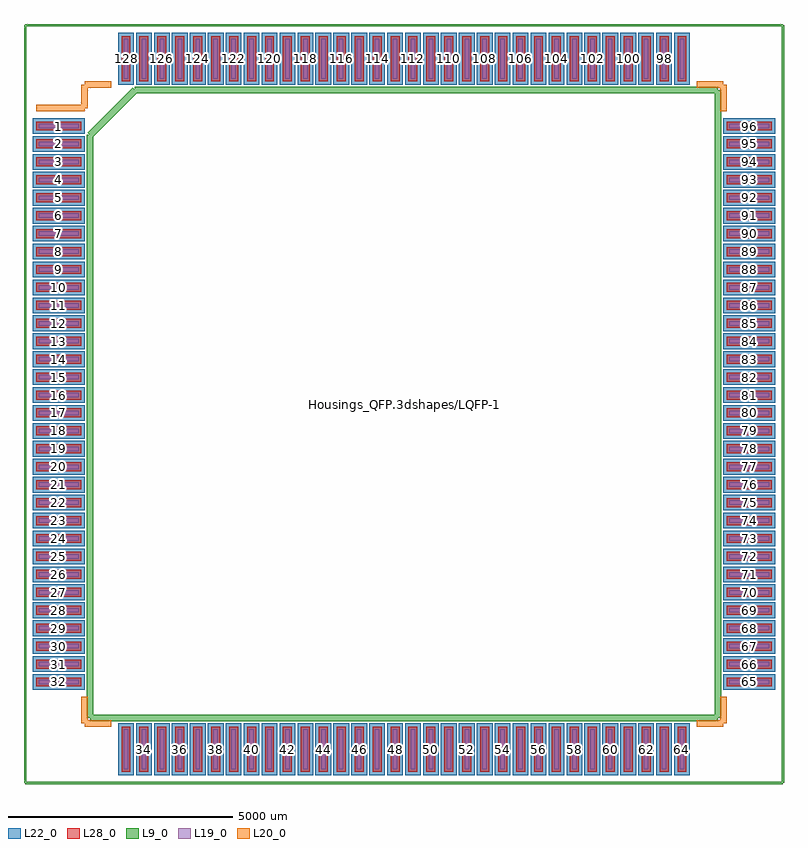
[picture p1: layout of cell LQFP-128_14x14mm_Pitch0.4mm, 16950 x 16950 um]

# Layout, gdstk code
import gdstk
lib = gdstk.Library(unit=1e-6, precision=1e-09)
def R(c, l, rs):  # rectangles x0, y0, x1, y1
    for r in rs: c.add(gdstk.rectangle(r[:2], r[2:], *l))
def A(c, l, x, y, w, h, nx, ny, dx, dy):  # array of equal rectangles
    R(c, l, [(x+i*dx, y+j*dy, x+i*dx+w, y+j*dy+h) for i in range(nx) for j in range(ny)])
L9_0 = (9, 0)
L19_0 = (19, 0)
L20_0 = (20, 0)
L22_0 = (22, 0)
L28_0 = (28, 0)

lqfp_128_14x14mm_pitch0_ = lib.new_cell('LQFP-128_14x14mm_Pitch0.4mm')
A(lqfp_128_14x14mm_pitch0_, L19_0, -6250, -8150, 100, 900, 32, 2, 400, 15400)
A(lqfp_128_14x14mm_pitch0_, L19_0, -8150, -6250, 900, 100, 1, 32, 0, 400)
A(lqfp_128_14x14mm_pitch0_, L19_0, 7250, -6250, 900, 100, 1, 32, 0, 400)
A(lqfp_128_14x14mm_pitch0_, L22_0, -6375, -8275, 350, 1150, 32, 2, 400, 15400)
A(lqfp_128_14x14mm_pitch0_, L22_0, -8275, -6375, 1150, 350, 1, 32, 0, 400)
A(lqfp_128_14x14mm_pitch0_, L22_0, 7125, -6375, 1150, 350, 1, 32, 0, 400)
A(lqfp_128_14x14mm_pitch0_, L28_0, -6300, -8200, 200, 1000, 32, 2, 400, 15400)
A(lqfp_128_14x14mm_pitch0_, L28_0, -8200, -6300, 1000, 200, 1, 32, 0, 400)
A(lqfp_128_14x14mm_pitch0_, L28_0, 7200, -6300, 1000, 200, 1, 32, 0, 400)
lqfp_128_14x14mm_pitch0_.add(gdstk.FlexPath([(-7125,6600),(-8200,6600)], 149.998, ends="flush", simple_path=True, layer=20, datatype=0))  # L20_0
lqfp_128_14x14mm_pitch0_.add(gdstk.FlexPath([(7125,7125),(6525,7125)], 149.998, ends="flush", simple_path=True, layer=20, datatype=0))  # L20_0
lqfp_128_14x14mm_pitch0_.add(gdstk.FlexPath([(7125,-7125),(6525,-7125)], 149.998, ends="flush", simple_path=True, layer=20, datatype=0))  # L20_0
lqfp_128_14x14mm_pitch0_.add(gdstk.FlexPath([(-7125,-7125),(-6525,-7125)], 149.998, ends="flush", simple_path=True, layer=20, datatype=0))  # L20_0
lqfp_128_14x14mm_pitch0_.add(gdstk.FlexPath([(-7125,7125),(-6525,7125)], 149.998, ends="flush", simple_path=True, layer=20, datatype=0))  # L20_0
lqfp_128_14x14mm_pitch0_.add(gdstk.FlexPath([(-7125,-7125),(-7125,-6525)], 149.998, ends="flush", simple_path=True, layer=20, datatype=0))  # L20_0
lqfp_128_14x14mm_pitch0_.add(gdstk.FlexPath([(7125,-7125),(7125,-6525)], 149.998, ends="flush", simple_path=True, layer=20, datatype=0))  # L20_0
lqfp_128_14x14mm_pitch0_.add(gdstk.FlexPath([(7125,7125),(7125,6525)], 149.998, ends="flush", simple_path=True, layer=20, datatype=0))  # L20_0
lqfp_128_14x14mm_pitch0_.add(gdstk.FlexPath([(-7125,7125),(-7125,6600)], 149.998, ends="flush", simple_path=True, layer=20, datatype=0))  # L20_0
lqfp_128_14x14mm_pitch0_.add(gdstk.FlexPath([(-8450,-8450),(8450,-8450)], 50, ends="flush", simple_path=True, layer=9, datatype=0))  # L9_0
lqfp_128_14x14mm_pitch0_.add(gdstk.FlexPath([(-8450,8450),(8450,8450)], 50, ends="flush", simple_path=True, layer=9, datatype=0))  # L9_0
lqfp_128_14x14mm_pitch0_.add(gdstk.FlexPath([(8450,8450),(8450,-8450)], 50, ends="flush", simple_path=True, layer=9, datatype=0))  # L9_0
lqfp_128_14x14mm_pitch0_.add(gdstk.FlexPath([(-8450,8450),(-8450,-8450)], 50, ends="flush", simple_path=True, layer=9, datatype=0))  # L9_0
lqfp_128_14x14mm_pitch0_.add(gdstk.FlexPath([(-7000,6000),(-6000,7000)], 149.998, ends="flush", simple_path=True, layer=9, datatype=0))  # L9_0
lqfp_128_14x14mm_pitch0_.add(gdstk.FlexPath([(-7000,-7000),(-7000,6000)], 149.998, ends="flush", simple_path=True, layer=9, datatype=0))  # L9_0
lqfp_128_14x14mm_pitch0_.add(gdstk.FlexPath([(7000,-7000),(-7000,-7000)], 149.998, ends="flush", simple_path=True, layer=9, datatype=0))  # L9_0
lqfp_128_14x14mm_pitch0_.add(gdstk.FlexPath([(7000,7000),(7000,-7000)], 149.998, ends="flush", simple_path=True, layer=9, datatype=0))  # L9_0
lqfp_128_14x14mm_pitch0_.add(gdstk.FlexPath([(-6000,7000),(7000,7000)], 149.998, ends="flush", simple_path=True, layer=9, datatype=0))  # L9_0
lqfp_128_14x14mm_pitch0_.add(gdstk.Label('Housings_QFP.3dshapes/LQFP-128_14x14mm_Pitch0.4mm.wrl', (0,0), layer=12, texttype=0))
lqfp_128_14x14mm_pitch0_.add(gdstk.Label('128', (-6200,7700), layer=28, texttype=0))
lqfp_128_14x14mm_pitch0_.add(gdstk.Label('127', (-5800,7700), layer=28, texttype=0))
lqfp_128_14x14mm_pitch0_.add(gdstk.Label('126', (-5400,7700), layer=28, texttype=0))
lqfp_128_14x14mm_pitch0_.add(gdstk.Label('125', (-5000,7700), layer=28, texttype=0))
lqfp_128_14x14mm_pitch0_.add(gdstk.Label('124', (-4600,7700), layer=28, texttype=0))
lqfp_128_14x14mm_pitch0_.add(gdstk.Label('123', (-4200,7700), layer=28, texttype=0))
lqfp_128_14x14mm_pitch0_.add(gdstk.Label('122', (-3800,7700), layer=28, texttype=0))
lqfp_128_14x14mm_pitch0_.add(gdstk.Label('121', (-3400,7700), layer=28, texttype=0))
lqfp_128_14x14mm_pitch0_.add(gdstk.Label('120', (-3000,7700), layer=28, texttype=0))
lqfp_128_14x14mm_pitch0_.add(gdstk.Label('119', (-2600,7700), layer=28, texttype=0))
lqfp_128_14x14mm_pitch0_.add(gdstk.Label('118', (-2200,7700), layer=28, texttype=0))
lqfp_128_14x14mm_pitch0_.add(gdstk.Label('117', (-1800,7700), layer=28, texttype=0))
lqfp_128_14x14mm_pitch0_.add(gdstk.Label('116', (-1400,7700), layer=28, texttype=0))
lqfp_128_14x14mm_pitch0_.add(gdstk.Label('115', (-1000,7700), layer=28, texttype=0))
lqfp_128_14x14mm_pitch0_.add(gdstk.Label('114', (-600,7700), layer=28, texttype=0))
lqfp_128_14x14mm_pitch0_.add(gdstk.Label('113', (-200,7700), layer=28, texttype=0))
lqfp_128_14x14mm_pitch0_.add(gdstk.Label('112', (200,7700), layer=28, texttype=0))
lqfp_128_14x14mm_pitch0_.add(gdstk.Label('111', (600,7700), layer=28, texttype=0))
lqfp_128_14x14mm_pitch0_.add(gdstk.Label('110', (1000,7700), layer=28, texttype=0))
lqfp_128_14x14mm_pitch0_.add(gdstk.Label('109', (1400,7700), layer=28, texttype=0))
lqfp_128_14x14mm_pitch0_.add(gdstk.Label('108', (1800,7700), layer=28, texttype=0))
lqfp_128_14x14mm_pitch0_.add(gdstk.Label('107', (2200,7700), layer=28, texttype=0))
lqfp_128_14x14mm_pitch0_.add(gdstk.Label('106', (2600,7700), layer=28, texttype=0))
lqfp_128_14x14mm_pitch0_.add(gdstk.Label('105', (3000,7700), layer=28, texttype=0))
lqfp_128_14x14mm_pitch0_.add(gdstk.Label('104', (3400,7700), layer=28, texttype=0))
lqfp_128_14x14mm_pitch0_.add(gdstk.Label('103', (3800,7700), layer=28, texttype=0))
lqfp_128_14x14mm_pitch0_.add(gdstk.Label('102', (4200,7700), layer=28, texttype=0))
lqfp_128_14x14mm_pitch0_.add(gdstk.Label('101', (4600,7700), layer=28, texttype=0))
lqfp_128_14x14mm_pitch0_.add(gdstk.Label('100', (5000,7700), layer=28, texttype=0))
lqfp_128_14x14mm_pitch0_.add(gdstk.Label('99', (5400,7700), layer=28, texttype=0))
lqfp_128_14x14mm_pitch0_.add(gdstk.Label('98', (5800,7700), layer=28, texttype=0))
lqfp_128_14x14mm_pitch0_.add(gdstk.Label('97', (6200,7700), layer=28, texttype=0))
lqfp_128_14x14mm_pitch0_.add(gdstk.Label('96', (7700,6200), layer=28, texttype=0))
lqfp_128_14x14mm_pitch0_.add(gdstk.Label('95', (7700,5800), layer=28, texttype=0))
lqfp_128_14x14mm_pitch0_.add(gdstk.Label('94', (7700,5400), layer=28, texttype=0))
lqfp_128_14x14mm_pitch0_.add(gdstk.Label('93', (7700,5000), layer=28, texttype=0))
lqfp_128_14x14mm_pitch0_.add(gdstk.Label('92', (7700,4600), layer=28, texttype=0))
lqfp_128_14x14mm_pitch0_.add(gdstk.Label('91', (7700,4200), layer=28, texttype=0))
lqfp_128_14x14mm_pitch0_.add(gdstk.Label('90', (7700,3800), layer=28, texttype=0))
lqfp_128_14x14mm_pitch0_.add(gdstk.Label('89', (7700,3400), layer=28, texttype=0))
lqfp_128_14x14mm_pitch0_.add(gdstk.Label('88', (7700,3000), layer=28, texttype=0))
lqfp_128_14x14mm_pitch0_.add(gdstk.Label('87', (7700,2600), layer=28, texttype=0))
lqfp_128_14x14mm_pitch0_.add(gdstk.Label('86', (7700,2200), layer=28, texttype=0))
lqfp_128_14x14mm_pitch0_.add(gdstk.Label('85', (7700,1800), layer=28, texttype=0))
lqfp_128_14x14mm_pitch0_.add(gdstk.Label('84', (7700,1400), layer=28, texttype=0))
lqfp_128_14x14mm_pitch0_.add(gdstk.Label('83', (7700,1000), layer=28, texttype=0))
lqfp_128_14x14mm_pitch0_.add(gdstk.Label('82', (7700,600), layer=28, texttype=0))
lqfp_128_14x14mm_pitch0_.add(gdstk.Label('81', (7700,200), layer=28, texttype=0))
lqfp_128_14x14mm_pitch0_.add(gdstk.Label('80', (7700,-200), layer=28, texttype=0))
lqfp_128_14x14mm_pitch0_.add(gdstk.Label('79', (7700,-600), layer=28, texttype=0))
lqfp_128_14x14mm_pitch0_.add(gdstk.Label('78', (7700,-1000), layer=28, texttype=0))
lqfp_128_14x14mm_pitch0_.add(gdstk.Label('77', (7700,-1400), layer=28, texttype=0))
lqfp_128_14x14mm_pitch0_.add(gdstk.Label('76', (7700,-1800), layer=28, texttype=0))
lqfp_128_14x14mm_pitch0_.add(gdstk.Label('75', (7700,-2200), layer=28, texttype=0))
lqfp_128_14x14mm_pitch0_.add(gdstk.Label('74', (7700,-2600), layer=28, texttype=0))
lqfp_128_14x14mm_pitch0_.add(gdstk.Label('73', (7700,-3000), layer=28, texttype=0))
lqfp_128_14x14mm_pitch0_.add(gdstk.Label('72', (7700,-3400), layer=28, texttype=0))
lqfp_128_14x14mm_pitch0_.add(gdstk.Label('71', (7700,-3800), layer=28, texttype=0))
lqfp_128_14x14mm_pitch0_.add(gdstk.Label('70', (7700,-4200), layer=28, texttype=0))
lqfp_128_14x14mm_pitch0_.add(gdstk.Label('69', (7700,-4600), layer=28, texttype=0))
lqfp_128_14x14mm_pitch0_.add(gdstk.Label('68', (7700,-5000), layer=28, texttype=0))
lqfp_128_14x14mm_pitch0_.add(gdstk.Label('67', (7700,-5400), layer=28, texttype=0))
lqfp_128_14x14mm_pitch0_.add(gdstk.Label('66', (7700,-5800), layer=28, texttype=0))
lqfp_128_14x14mm_pitch0_.add(gdstk.Label('65', (7700,-6200), layer=28, texttype=0))
lqfp_128_14x14mm_pitch0_.add(gdstk.Label('64', (6200,-7700), layer=28, texttype=0))
lqfp_128_14x14mm_pitch0_.add(gdstk.Label('63', (5800,-7700), layer=28, texttype=0))
lqfp_128_14x14mm_pitch0_.add(gdstk.Label('62', (5400,-7700), layer=28, texttype=0))
lqfp_128_14x14mm_pitch0_.add(gdstk.Label('61', (5000,-7700), layer=28, texttype=0))
lqfp_128_14x14mm_pitch0_.add(gdstk.Label('60', (4600,-7700), layer=28, texttype=0))
lqfp_128_14x14mm_pitch0_.add(gdstk.Label('59', (4200,-7700), layer=28, texttype=0))
lqfp_128_14x14mm_pitch0_.add(gdstk.Label('58', (3800,-7700), layer=28, texttype=0))
lqfp_128_14x14mm_pitch0_.add(gdstk.Label('57', (3400,-7700), layer=28, texttype=0))
lqfp_128_14x14mm_pitch0_.add(gdstk.Label('56', (3000,-7700), layer=28, texttype=0))
lqfp_128_14x14mm_pitch0_.add(gdstk.Label('55', (2600,-7700), layer=28, texttype=0))
lqfp_128_14x14mm_pitch0_.add(gdstk.Label('54', (2200,-7700), layer=28, texttype=0))
lqfp_128_14x14mm_pitch0_.add(gdstk.Label('53', (1800,-7700), layer=28, texttype=0))
lqfp_128_14x14mm_pitch0_.add(gdstk.Label('52', (1400,-7700), layer=28, texttype=0))
lqfp_128_14x14mm_pitch0_.add(gdstk.Label('51', (1000,-7700), layer=28, texttype=0))
lqfp_128_14x14mm_pitch0_.add(gdstk.Label('50', (600,-7700), layer=28, texttype=0))
lqfp_128_14x14mm_pitch0_.add(gdstk.Label('49', (200,-7700), layer=28, texttype=0))
lqfp_128_14x14mm_pitch0_.add(gdstk.Label('48', (-200,-7700), layer=28, texttype=0))
lqfp_128_14x14mm_pitch0_.add(gdstk.Label('47', (-600,-7700), layer=28, texttype=0))
lqfp_128_14x14mm_pitch0_.add(gdstk.Label('46', (-1000,-7700), layer=28, texttype=0))
lqfp_128_14x14mm_pitch0_.add(gdstk.Label('45', (-1400,-7700), layer=28, texttype=0))
lqfp_128_14x14mm_pitch0_.add(gdstk.Label('44', (-1800,-7700), layer=28, texttype=0))
lqfp_128_14x14mm_pitch0_.add(gdstk.Label('43', (-2200,-7700), layer=28, texttype=0))
lqfp_128_14x14mm_pitch0_.add(gdstk.Label('42', (-2600,-7700), layer=28, texttype=0))
lqfp_128_14x14mm_pitch0_.add(gdstk.Label('41', (-3000,-7700), layer=28, texttype=0))
lqfp_128_14x14mm_pitch0_.add(gdstk.Label('40', (-3400,-7700), layer=28, texttype=0))
lqfp_128_14x14mm_pitch0_.add(gdstk.Label('39', (-3800,-7700), layer=28, texttype=0))
lqfp_128_14x14mm_pitch0_.add(gdstk.Label('38', (-4200,-7700), layer=28, texttype=0))
lqfp_128_14x14mm_pitch0_.add(gdstk.Label('37', (-4600,-7700), layer=28, texttype=0))
lqfp_128_14x14mm_pitch0_.add(gdstk.Label('36', (-5000,-7700), layer=28, texttype=0))
lqfp_128_14x14mm_pitch0_.add(gdstk.Label('35', (-5400,-7700), layer=28, texttype=0))
lqfp_128_14x14mm_pitch0_.add(gdstk.Label('34', (-5800,-7700), layer=28, texttype=0))
lqfp_128_14x14mm_pitch0_.add(gdstk.Label('33', (-6200,-7700), layer=28, texttype=0))
lqfp_128_14x14mm_pitch0_.add(gdstk.Label('32', (-7700,-6200), layer=28, texttype=0))
lqfp_128_14x14mm_pitch0_.add(gdstk.Label('31', (-7700,-5800), layer=28, texttype=0))
lqfp_128_14x14mm_pitch0_.add(gdstk.Label('30', (-7700,-5400), layer=28, texttype=0))
lqfp_128_14x14mm_pitch0_.add(gdstk.Label('29', (-7700,-5000), layer=28, texttype=0))
lqfp_128_14x14mm_pitch0_.add(gdstk.Label('28', (-7700,-4600), layer=28, texttype=0))
lqfp_128_14x14mm_pitch0_.add(gdstk.Label('27', (-7700,-4200), layer=28, texttype=0))
lqfp_128_14x14mm_pitch0_.add(gdstk.Label('26', (-7700,-3800), layer=28, texttype=0))
lqfp_128_14x14mm_pitch0_.add(gdstk.Label('25', (-7700,-3400), layer=28, texttype=0))
lqfp_128_14x14mm_pitch0_.add(gdstk.Label('24', (-7700,-3000), layer=28, texttype=0))
lqfp_128_14x14mm_pitch0_.add(gdstk.Label('23', (-7700,-2600), layer=28, texttype=0))
lqfp_128_14x14mm_pitch0_.add(gdstk.Label('22', (-7700,-2200), layer=28, texttype=0))
lqfp_128_14x14mm_pitch0_.add(gdstk.Label('21', (-7700,-1800), layer=28, texttype=0))
lqfp_128_14x14mm_pitch0_.add(gdstk.Label('20', (-7700,-1400), layer=28, texttype=0))
lqfp_128_14x14mm_pitch0_.add(gdstk.Label('19', (-7700,-1000), layer=28, texttype=0))
lqfp_128_14x14mm_pitch0_.add(gdstk.Label('18', (-7700,-600), layer=28, texttype=0))
lqfp_128_14x14mm_pitch0_.add(gdstk.Label('17', (-7700,-200), layer=28, texttype=0))
lqfp_128_14x14mm_pitch0_.add(gdstk.Label('16', (-7700,200), layer=28, texttype=0))
lqfp_128_14x14mm_pitch0_.add(gdstk.Label('15', (-7700,600), layer=28, texttype=0))
lqfp_128_14x14mm_pitch0_.add(gdstk.Label('14', (-7700,1000), layer=28, texttype=0))
lqfp_128_14x14mm_pitch0_.add(gdstk.Label('13', (-7700,1400), layer=28, texttype=0))
lqfp_128_14x14mm_pitch0_.add(gdstk.Label('12', (-7700,1800), layer=28, texttype=0))
lqfp_128_14x14mm_pitch0_.add(gdstk.Label('11', (-7700,2200), layer=28, texttype=0))
lqfp_128_14x14mm_pitch0_.add(gdstk.Label('10', (-7700,2600), layer=28, texttype=0))
lqfp_128_14x14mm_pitch0_.add(gdstk.Label('9', (-7700,3000), layer=28, texttype=0))
lqfp_128_14x14mm_pitch0_.add(gdstk.Label('8', (-7700,3400), layer=28, texttype=0))
lqfp_128_14x14mm_pitch0_.add(gdstk.Label('7', (-7700,3800), layer=28, texttype=0))
lqfp_128_14x14mm_pitch0_.add(gdstk.Label('6', (-7700,4200), layer=28, texttype=0))
lqfp_128_14x14mm_pitch0_.add(gdstk.Label('5', (-7700,4600), layer=28, texttype=0))
lqfp_128_14x14mm_pitch0_.add(gdstk.Label('4', (-7700,5000), layer=28, texttype=0))
lqfp_128_14x14mm_pitch0_.add(gdstk.Label('3', (-7700,5400), layer=28, texttype=0))
lqfp_128_14x14mm_pitch0_.add(gdstk.Label('2', (-7700,5800), layer=28, texttype=0))
lqfp_128_14x14mm_pitch0_.add(gdstk.Label('1', (-7700,6200), layer=28, texttype=0))
lqfp_128_14x14mm_pitch0_.add(gdstk.Label('%R', (0,0), layer=9, texttype=0))
lqfp_128_14x14mm_pitch0_.add(gdstk.Label('type', (0,-9200), layer=9, texttype=0))
lqfp_128_14x14mm_pitch0_.add(gdstk.Label('devicename', (0,9200), layer=9, texttype=0))

lib.write_gds('LQFP-128_14x14mm_Pitch0.4mm.gds')
